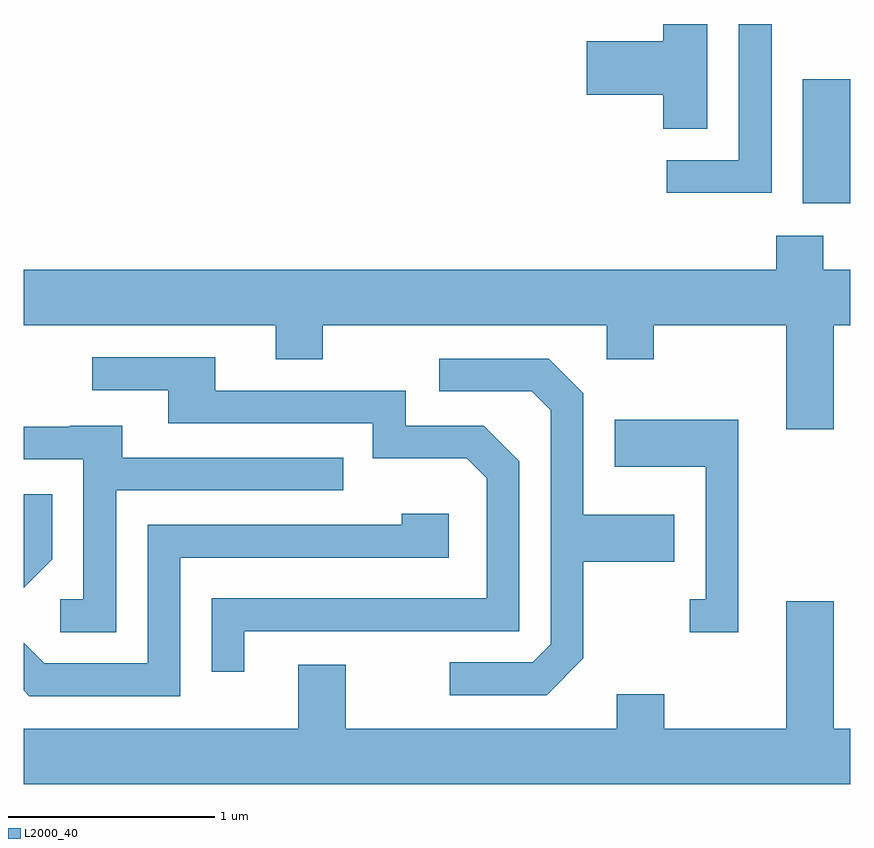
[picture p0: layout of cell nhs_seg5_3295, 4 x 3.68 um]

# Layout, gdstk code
import gdstk
lib = gdstk.Library(unit=1e-6, precision=1e-09)
def R(c, l, rs):  # rectangles x0, y0, x1, y1
    for r in rs: c.add(gdstk.rectangle(r[:2], r[2:], *l))
def P(c, l, *ps):  # polygons
    for p in ps: c.add(gdstk.Polygon(p, *l))
L2000_40 = (2000, 40)

nhs_seg5_3295 = lib.new_cell('nhs_seg5_3295')
R(nhs_seg5_3295, L2000_40, [(287.381,1415.206,287.611,1415.804)])
P(nhs_seg5_3295, L2000_40, [(287.229,1416.072),(287.071,1416.072),(287.071,1415.414),(286.723,1415.414),(286.723,1415.256),(287.229,1415.256)],
  [(286.919,1416.072),(286.706,1416.072),(286.706,1415.989),(286.336,1415.989),(286.336,1415.731),(286.706,1415.731),(286.706,1415.566),(286.919,1415.566)],
  [(287.529,1414.616),(287.611,1414.616),(287.611,1414.884),(287.479,1414.884),(287.479,1415.049),(287.251,1415.049),(287.251,1414.884),(283.611,1414.884),(283.611,1414.616),(284.831,1414.616),(284.831,1414.451),(285.059,1414.451),(285.059,1414.616),(286.431,1414.616),(286.431,1414.451),(286.659,1414.451),(286.659,1414.616),(287.301,1414.616),(287.301,1414.111),(287.529,1414.111)],
  [(284.679,1413.136),(286.009,1413.136),(286.009,1413.957),(285.837,1414.129),(285.459,1414.129),(285.459,1414.299),(284.539,1414.299),(284.539,1414.459),(283.943,1414.459),(283.943,1414.301),(284.311,1414.301),(284.311,1414.141),(285.301,1414.141),(285.301,1413.971),(285.754,1413.971),(285.851,1413.874),(285.851,1413.294),(284.521,1413.294),(284.521,1412.938),(284.679,1412.938)],
  [(286.319,1413.004),(286.319,1413.471),(286.759,1413.471),(286.759,1413.699),(286.319,1413.699),(286.319,1414.287),(286.152,1414.454),(285.623,1414.454),(285.623,1414.296),(286.069,1414.296),(286.161,1414.204),(286.161,1413.072),(286.074,1412.984),(285.673,1412.984),(285.673,1412.826),(286.142,1412.826)],
  [(287.069,1414.159),(286.471,1414.159),(286.471,1413.931),(286.911,1413.931),(286.911,1413.289),(286.833,1413.289),(286.833,1413.131),(287.069,1413.131)],
  [(284.059,1413.816),(285.158,1413.816),(285.158,1413.974),(284.089,1413.974),(284.089,1414.129),(283.835,1414.129),(283.835,1414.124),(283.611,1414.124),(283.611,1413.966),(283.901,1413.966),(283.901,1413.289),(283.788,1413.289),(283.788,1413.131),(284.059,1413.131)],
  [(283.749,1413.484),(283.749,1413.798),(283.611,1413.798),(283.611,1413.345)],
  [(284.369,1413.491),(285.669,1413.491),(285.669,1413.704),(285.441,1413.704),(285.441,1413.649),(284.211,1413.649),(284.211,1412.979),(283.712,1412.979),(283.611,1413.08),(283.611,1412.849),(283.639,1412.821),(284.369,1412.821)],
  [(287.611,1412.664),(287.529,1412.664),(287.529,1413.279),(287.301,1413.279),(287.301,1412.664),(286.709,1412.664),(286.709,1412.829),(286.481,1412.829),(286.481,1412.664),(285.169,1412.664),(285.169,1412.974),(284.941,1412.974),(284.941,1412.664),(283.611,1412.664),(283.611,1412.396),(287.611,1412.396)])

lib.write_gds('nhs_seg5_3295.gds')
